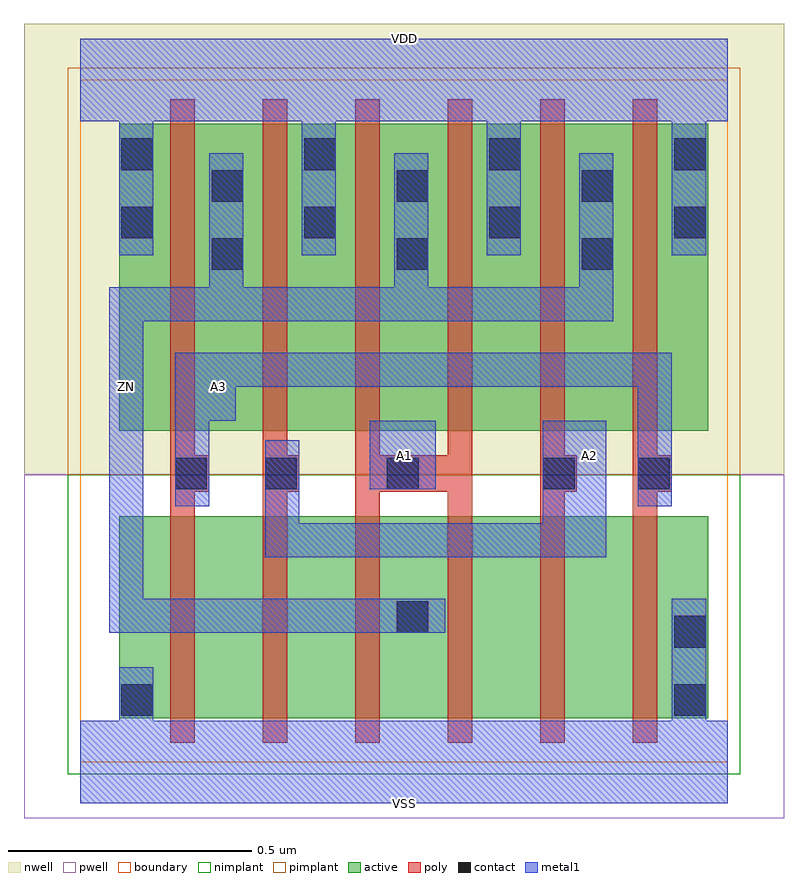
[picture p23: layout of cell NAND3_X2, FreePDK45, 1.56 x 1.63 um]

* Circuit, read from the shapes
.subckt NAND3_X2 A1 A2 A3 VDD VSS ZN
M1 n1 A3 VSS VSUBS nfet w=0.415u l=0.05u
M2 n2 A2 n1 VSUBS nfet w=0.415u l=0.05u
M3 ZN A1 n2 VSUBS nfet w=0.415u l=0.05u
M4 n3 A1 ZN VSUBS nfet w=0.415u l=0.05u
M5 n4 A2 n3 VSUBS nfet w=0.415u l=0.05u
M6 VSS A3 n4 VSUBS nfet w=0.415u l=0.05u
M7 ZN A3 VDD n5 pfet w=0.63u l=0.05u m=2
M8 VDD A2 ZN n5 pfet w=0.63u l=0.05u m=2
M9 ZN A1 VDD n5 pfet w=0.63u l=0.05u m=2
.ends

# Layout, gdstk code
import gdstk
lib = gdstk.Library(unit=1e-6, precision=5e-10)
def R(c, l, rs):  # rectangles x0, y0, x1, y1
    for r in rs: c.add(gdstk.rectangle(r[:2], r[2:], *l))
def A(c, l, x, y, w, h, nx, ny, dx, dy):  # array of equal rectangles
    R(c, l, [(x+i*dx, y+j*dy, x+i*dx+w, y+j*dy+h) for i in range(nx) for j in range(ny)])
def P(c, l, *ps):  # polygons
    for p in ps: c.add(gdstk.Polygon(p, *l))
active = (1, 0)
pwell = (2, 0)
nwell = (3, 0)
nimplant = (4, 0)
pimplant = (5, 0)
poly = (9, 0)
contact = (10, 0)
metal1 = (11, 0)
boundary = (235, 0)

nand3_x2 = lib.new_cell('NAND3_X2')
R(nand3_x2, active, [(0.08,0.09,1.29,0.505), (0.08,0.68,1.29,1.31)])
R(nand3_x2, pwell, [(-0.115,-0.115,1.445,0.59)])
R(nand3_x2, nwell, [(-0.115,0.59,1.445,1.515)])
R(nand3_x2, nimplant, [(-0.025,-0.025,1.355,0.59)])
R(nand3_x2, pimplant, [(-0.025,0.59,1.355,1.425)])
P(nand3_x2, poly, [(1.135,0.04),(1.185,0.04),(1.185,0.555),(1.215,0.555),(1.215,0.63),(1.185,0.63),(1.185,1.36),(1.135,1.36)],
  [(0.945,0.04),(0.995,0.04),(0.995,0.555),(1.02,0.555),(1.02,0.63),(0.995,0.63),(0.995,1.36),(0.945,1.36)],
  [(0.565,0.04),(0.615,0.04),(0.615,0.555),(0.755,0.555),(0.755,0.04),(0.805,0.04),(0.805,1.36),(0.755,1.36),(0.755,0.63),(0.615,0.63),(0.615,1.36),(0.565,1.36)],
  [(0.375,0.04),(0.425,0.04),(0.425,0.555),(0.45,0.555),(0.45,0.63),(0.425,0.63),(0.425,1.36),(0.375,1.36)],
  [(0.185,0.04),(0.235,0.04),(0.235,0.555),(0.265,0.555),(0.265,0.63),(0.235,0.63),(0.235,1.36),(0.185,1.36)])
A(nand3_x2, contact, 0.27, 1.01, 0.065, 0.065, 3, 2, 0.38, 0.14)
A(nand3_x2, contact, 0.46, 1.075, 0.065, 0.065, 3, 2, 0.38, 0.14)
R(nand3_x2, contact, [(0.085,0.095,0.15,0.16), (1.22,0.095,1.285,0.16), (1.22,0.235,1.285,0.3), (0.65,0.265,0.715,0.33), (0.195,0.56,0.26,0.625), (0.38,0.56,0.445,0.625), (0.63,0.56,0.695,0.625), (0.95,0.56,1.015,0.625), (1.145,0.56,1.21,0.625), (0.085,1.075,0.15,1.14), (0.085,1.215,0.15,1.28)])
R(nand3_x2, metal1, [(0.595,0.56,0.73,0.7), (0.595,0.56,0.73,0.7)])
P(nand3_x2, metal1, [(0,-0.085),(1.33,-0.085),(1.33,0.085),(1.285,0.085),(1.285,0.335),(1.215,0.335),(1.215,0.085),(0.15,0.085),(0.15,0.195),(0.08,0.195),(0.08,0.085),(0,0.085)],
  [(0,1.315),(0.08,1.315),(0.08,1.04),(0.15,1.04),(0.15,1.315),(0.455,1.315),(0.455,1.04),(0.525,1.04),(0.525,1.315),(0.835,1.315),(0.835,1.04),(0.905,1.04),(0.905,1.315),(1.215,1.315),(1.215,1.04),(1.285,1.04),(1.285,1.315),(1.33,1.315),(1.33,1.485),(0,1.485)],
  [(0.13,0.905),(1.095,0.905),(1.095,1.25),(1.025,1.25),(1.025,0.975),(0.715,0.975),(0.715,1.25),(0.645,1.25),(0.645,0.975),(0.335,0.975),(0.335,1.25),(0.265,1.25),(0.265,0.975),(0.06,0.975),(0.06,0.265),(0.75,0.265),(0.75,0.335),(0.13,0.335)],
  [(0.195,0.525),(0.265,0.525),(0.265,0.7),(0.32,0.7),(0.32,0.77),(1.145,0.77),(1.145,0.525),(1.215,0.525),(1.215,0.84),(0.195,0.84)],
  [(0.38,0.42),(1.08,0.42),(1.08,0.7),(0.95,0.7),(0.95,0.49),(0.45,0.49),(0.45,0.66),(0.38,0.66)],
  [(0,1.315),(0.08,1.315),(0.08,1.04),(0.15,1.04),(0.15,1.315),(0.455,1.315),(0.455,1.04),(0.525,1.04),(0.525,1.315),(0.835,1.315),(0.835,1.04),(0.905,1.04),(0.905,1.315),(1.215,1.315),(1.215,1.04),(1.285,1.04),(1.285,1.315),(1.33,1.315),(1.33,1.485),(0,1.485)],
  [(0,-0.085),(1.33,-0.085),(1.33,0.085),(1.285,0.085),(1.285,0.335),(1.215,0.335),(1.215,0.085),(0.15,0.085),(0.15,0.195),(0.08,0.195),(0.08,0.085),(0,0.085)],
  [(0.195,0.525),(0.265,0.525),(0.265,0.7),(0.32,0.7),(0.32,0.77),(1.145,0.77),(1.145,0.525),(1.215,0.525),(1.215,0.84),(0.195,0.84)],
  [(0.13,0.905),(1.095,0.905),(1.095,1.25),(1.025,1.25),(1.025,0.975),(0.715,0.975),(0.715,1.25),(0.645,1.25),(0.645,0.975),(0.335,0.975),(0.335,1.25),(0.265,1.25),(0.265,0.975),(0.06,0.975),(0.06,0.265),(0.75,0.265),(0.75,0.335),(0.13,0.335)],
  [(0.38,0.42),(1.08,0.42),(1.08,0.7),(0.95,0.7),(0.95,0.49),(0.45,0.49),(0.45,0.66),(0.38,0.66)])
R(nand3_x2, boundary, [(0,0,1.33,1.4)])
nand3_x2.add(gdstk.Label('ZN', (0.095,0.77), layer=11, texttype=0))
nand3_x2.add(gdstk.Label('VSS', (0.665,-0.085), layer=11, texttype=0))
nand3_x2.add(gdstk.Label('VDD', (0.665,1.485), layer=11, texttype=0))
nand3_x2.add(gdstk.Label('A3', (0.285,0.77), layer=11, texttype=0))
nand3_x2.add(gdstk.Label('A2', (1.045,0.63), layer=11, texttype=0))
nand3_x2.add(gdstk.Label('A1', (0.665,0.63), layer=11, texttype=0))

lib.write_gds('NAND3_X2.gds')
